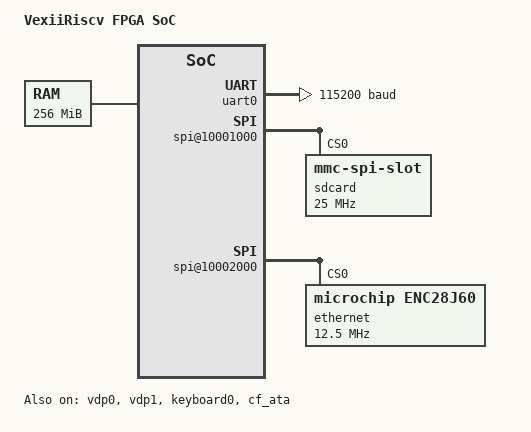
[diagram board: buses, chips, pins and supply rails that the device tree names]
/dts-v1/;

/ {
    #address-cells = <1>;
    #size-cells = <1>;

    compatible = "vexii,vexii-soc";
    model = "VexiiRiscv FPGA SoC";

    chosen {
        stdout-path = &uart0;
        /*
        * bootargs = "earlycon=sbi console=ttyUL0,115200 root=/dev/mmcblk0p2 uio_pdrv_genirq.of_id=generic-uio";
        */
        bootargs = "earlycon=sbi console=ttyUL0,115200 root=/dev/sda1 rootwait rw uio_pdrv_genirq.of_id=generic-uio";
    };

    aliases {
        serial0 = &uart0;
    };

    memory@90000000 {
        device_type = "memory";
        reg = <0x90000000 0x10000000>;
    };

    reserved-memory {
        #address-cells = <1>;
        #size-cells = <1>;
        ranges;

        vdp_fb: framebuffer@9f800000 {
                reg = <0x9f800000 0x00800000>;
                no-map;
        };
    };

    cpus {
        #address-cells = <1>;
        #size-cells = <0>;
        timebase-frequency = <100000000>;

        cpu0: cpu@0 {
            device_type = "cpu";
            reg = <0>;
            status = "okay";
            compatible = "riscv";

            riscv,isa = "rv32imafdc_zicsr_zifencei_zicbom";
            riscv,cbom-block-size = <64>;
            mmu-type = "riscv,sv32";

            cpu0_intc: interrupt-controller {
                compatible = "riscv,cpu-intc";
                interrupt-controller;
                #interrupt-cells = <1>;
                #address-cells = <0>;
            };
        };

        cpu1: cpu@1 {
            device_type = "cpu";
            reg = <1>;
            status = "okay";
            compatible = "riscv";

            riscv,isa = "rv32imafdc_zicsr_zifencei_zicbom";
            riscv,cbom-block-size = <64>;
            mmu-type = "riscv,sv32";

            cpu1_intc: interrupt-controller {
                compatible = "riscv,cpu-intc";
                interrupt-controller;
                #interrupt-cells = <1>;
                #address-cells = <0>;
            };
        };
    };

    soc {
        compatible = "simple-bus";
        #address-cells = <1>;
        #size-cells = <1>;
        ranges;


        clint0: timer@f0010000 {
            compatible = "riscv,clint0";
            reg = <0xf0010000 0x00010000>;

            /*
             * 3 = machine software interrupt
             * 7 = machine timer interrupt
             */
            interrupts-extended =
                <&cpu0_intc 3>,
                <&cpu0_intc 7>,
                <&cpu1_intc 3>,
                <&cpu1_intc 7>;
        };

        plic0: interrupt-controller@f0c00000 {
            compatible = "riscv,plic0";
            reg = <0xf0c00000 0x00400000>;

            interrupt-controller;
            #interrupt-cells = <1>;
            #address-cells = <0>;

            /*
             * 11 = machine external interrupt
             * 9  = supervisor external interrupt
             * FPGA context order: hart 0 M/S, then hart 1 M/S.
             */
            interrupts-extended =
                <&cpu0_intc 11>,
                <&cpu0_intc 9>,
                <&cpu1_intc 11>,
                <&cpu1_intc 9>;

            /*
             * Change to the actual number of implemented
             * external interrupt sources.
             */
            riscv,ndev = <32>;
            riscv,max-priority = <7>;
        };

        uart0: serial@10000000 {
            compatible = "xlnx,xps-uartlite-1.00.a";
            reg = <0x10000000 0x00010000>;

            current-speed = <115200>;

            interrupt-parent = <&plic0>;

            /*
             * Replace 1 with the PLIC source number actually
             * connected to AXI UART Lite.
             */
            interrupts = <1>;
        };


	spi@10001000 {
		compatible = "xlnx,axi-quad-spi-1.00.a";
		reg = <0x10001000 0x1000>;
		interrupt-parent = <&plic0>;
		interrupts = <2>;
		#address-cells = <1>;
		#size-cells = <0>;
		xlnx,num-ss-bits = <1>;
		xlnx,num-transfer-bits = <8>;
		status = "okay";

		sdcard@0 {
			compatible = "mmc-spi-slot";
			reg = <0>;
			spi-max-frequency = <25000000>;
			voltage-ranges = <3300 3300>;
			broken-cd;
			disable-wp;
		};
	};

	spi@10002000 {
                compatible = "xlnx,axi-quad-spi-1.00.a";
                reg = <0x10002000 0x1000>;
                interrupt-parent = <&plic0>;
                interrupts = <3>;
                #address-cells = <1>;
                #size-cells = <0>;
                xlnx,num-ss-bits = <1>;
                xlnx,num-transfer-bits = <8>;
                status = "okay";

                ethernet@0 {
                        compatible = "microchip,enc28j60";
                        reg = <0>;
                        spi-max-frequency = <12500000>;

                        interrupt-parent = <&plic0>;
                        interrupts = <4>;

                        status = "okay";
                };
    };

    vdp0: vdp@10032000 {
            compatible = "generic-uio";

            reg = <0x10032000 0x00001000>, /* R0 */
                  <0x9f800000 0x00800000>, /* B0 */
                  <0x10010000 0x00010000>, /* T0 DATA */
                  <0x10020000 0x00008000>, /* T0 MAP */
                  <0x10028000 0x00008000>; /* S0 DATA */

            reg-names = "r0",
                        "b0",
                        "t0_data",
                        "t0_map",
                        "s0_data";

            linux,uio-name = "vdp0";
            status = "okay";
    };

    vdp1: vdp@10030000 {
            compatible = "generic-uio";

            reg = <0x10030000 0x00000200>, /* S0 ATT */
                  <0x10040000 0x00010000>, /* T1 DATA */
                  <0x10050000 0x00008000>; /* T1 MAP */

            reg-names = "s0_att",
                        "t1_data",
                        "t1_map";

            linux,uio-name = "vdp1";
            status = "okay";
    };



	keyboard0: keyboard@10003000 {
		compatible = "ares,msx-keyboard";

		reg = <0x10003000 0x1000>;

		interrupt-parent = <&plic0>;
		interrupts = <5>;

		status = "okay";
	};

    cf_ata: ide@10060000 {
    compatible = "ata-generic";

    /*
     * Command/task-file block:
     *
     * 0x10060000 DATA
     * 0x10060002 ERROR/FEATURE
     * 0x10060004 SECTOR COUNT
     * 0x10060006 LBA LOW
     * 0x10060008 LBA MID
     * 0x1006000a LBA HIGH
     * 0x1006000c DEVICE
     * 0x1006000e STATUS/COMMAND
     *
     * Control block:
     *
     * 0x10070000 Alternate Status / Device Control
     */
    reg = <0x10060000 0x10>,
          <0x10070000 0x02>;

    reg-shift = <1>;

    pio-mode = <2>;

    ata-generic,use16bit;

    interrupt-parent = <&plic0>;
    interrupts = <6>;

    status = "okay";
};

    };

};

/include/ "ares-axi-dma.dtsi"
